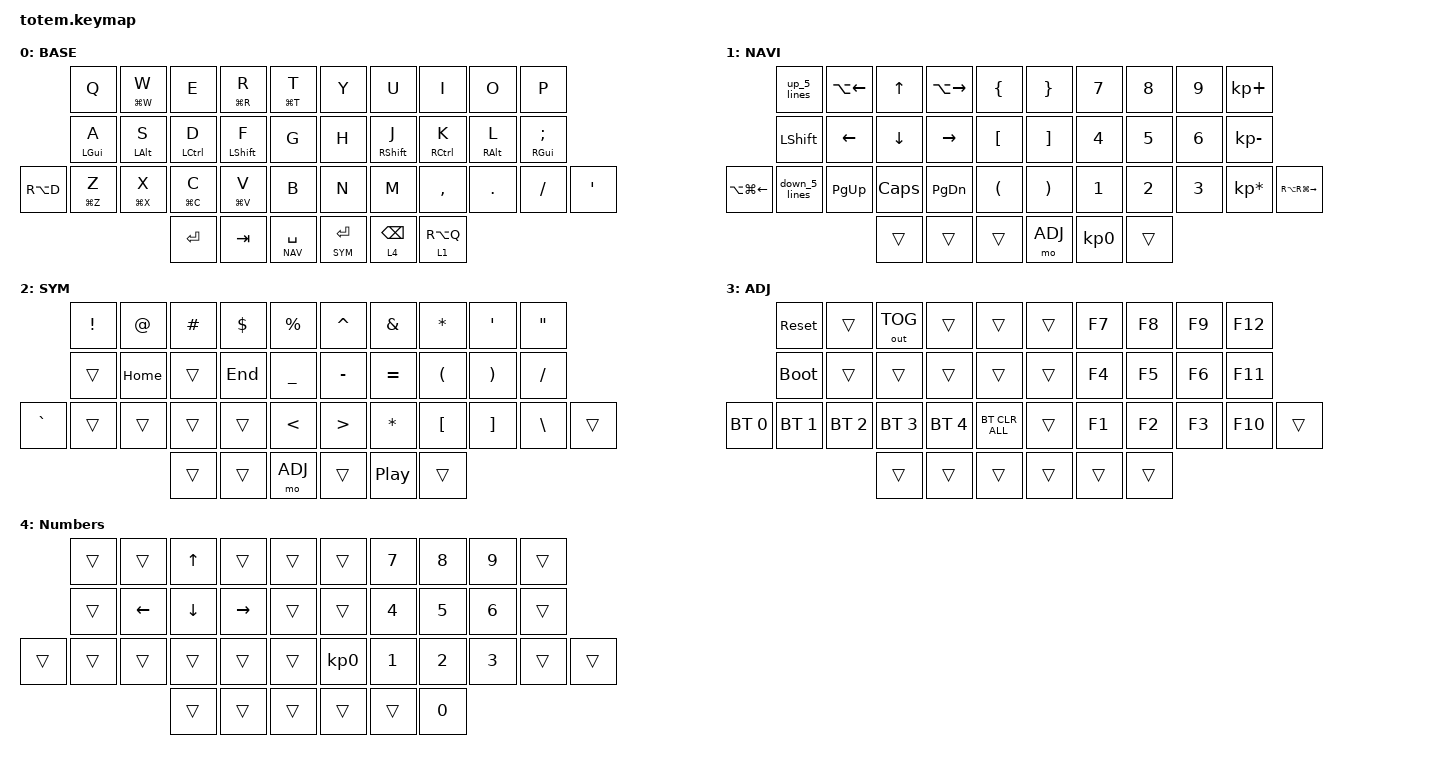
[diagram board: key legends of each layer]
//
//                                                        ▀▀▀▀▀     ▀▀▀▀▀          ▀▀█▀▀
//                                                        ▄▀▀▀▄  ▄  ▄▀▀▀▄  ▄  ▄▀▀▀▄  █  ▄▀▀▀▄
//                                                        █   █  █  █   █  █  █   █  █  █   █
//                                                         ▀▀▀   █   ▀▀▀   █   ▀▀▀   ▀   ▀▀▀
//                                                               █      ▄▄▄█▄▄▄    █   █  
//                                                               ▀      █  █  █     █▄█
//                                                             ▀▀▀▀▀    █  █  █      ▀
//                                                                      ▀  ▀  ▀
//
// ▄▄▄▄▄▄▄▄▄▄▄▄▄▄▄▄▄▄▄▄▄▄▄▄▄▄▄▄▄▄▄▄▄▄▄▄▄▄▄▄▄▄▄▄▄▄▄▄▄▄▄▄▄▄▄▄▄▄▄▄▄▄▄▄▄▄▄▄▄▄▄▄▄▄▄▄▄▄▄▄▄▄▄▄▄▄▄▄▄▄▄▄▄▄▄▄▄▄▄▄▄▄▄▄▄▄▄▄▄▄▄▄▄▄▄▄▄▄▄▄▄▄▄▄▄▄▄▄▄▄▄▄▄▄▄▄▄▄▄▄▄▄▄▄▄▄▄▄▄

#include <behaviors.dtsi>
#include <dt-bindings/zmk/bt.h>
#include <dt-bindings/zmk/keys.h>
#include <dt-bindings/zmk/outputs.h>

#define BASE 0
#define NAV  1
#define SYM  2
#define ADJ  3

&mt {
    quick-tap-ms = <100>;
    global-quick-tap;
    flavor = "tap-preferred";
    tapping-term-ms = <170>;
};

/ {
    combos {
        compatible = "zmk,combos";

        combo_esc {
            timeout-ms = <50>;
            key-positions = <0 1>;
            bindings = <&kp ESC>;
        };
    };

    macros {
        up_5_lines: up_5_lines {
            compatible = "zmk,behavior-macro";
            #binding-cells = <0>;
            bindings = <&kp UP_ARROW &kp UP_ARROW &kp UP_ARROW &kp UP_ARROW &kp UP_ARROW>;
            label = "UP_5_LINES";
            tap-ms = <5>;
        };

        down_5_lines: down_5_lines {
            compatible = "zmk,behavior-macro";
            #binding-cells = <0>;
            bindings = <&kp DOWN_ARROW &kp DOWN_ARROW &kp DOWN_ARROW &kp DOWN_ARROW &kp DOWN_ARROW>;
            label = "DOWN_5_LINES";
        };
    };

    keymap {
        compatible = "zmk,keymap";

        // ▄▄▄▄▄▄▄▄▄▄▄▄▄▄▄▄▄▄▄▄▄▄▄▄▄▄▄▄▄▄▄▄▄▄▄▄▄▄▄▄▄▄▄▄▄▄▄▄▄▄▄▄▄▄▄▄▄▄▄▄▄▄▄▄▄▄▄▄▄▄▄▄▄▄▄▄▄▄▄▄▄▄▄▄▄▄▄▄▄▄▄▄▄▄▄▄▄▄▄▄▄▄▄▄▄▄▄▄▄▄▄▄▄▄▄▄▄▄▄▄▄▄▄▄▄▄▄▄▄▄▄▄▄▄▄▄▄▄▄▄▄▄▄▄▄▄▄▄▄

        base_layer {
            // ┏━━━━━━━━━━━━━━━━━━━━━━━━━━━━━━━━━━━━━━━┓

            label = "BASE";

            // ┗━━━━━━━━━━━━━━━━━━━━━━━━━━━━━━━━━━━━━━━┛
            //             ┏━━━━━━━━━━━┳━━━━━━━━━━━┳━━━━━━━━━━━┳━━━━━━━━━━━┳━━━━━━━━━━━┓   ┏━━━━━━━━━━━┳━━━━━━━━━━━┳━━━━━━━━━━━┳━━━━━━━━━━━┳━━━━━━━━━━━┓
            //             ┃     Q     ┃     W     ┃     F     ┃     P     ┃     G     ┃   ┃     J     ┃     L     ┃     U     ┃     Y     ┃     ;     ┃
            //             ┣━━━━━━━━━━━╋━━━━━━━━━━━╋━━━━━━━━━━━╋━━━━━━━━━━━╋━━━━━━━━━━━┫   ┣━━━━━━━━━━━╋━━━━━━━━━━━╋━━━━━━━━━━━╋━━━━━━━━━━━╋━━━━━━━━━━━┫
            //             ┃     A     ┃     R     ┃     S     ┃     T     ┃     D     ┃   ┃     H     ┃     N     ┃     E     ┃     I     ┃     O     ┃
            // ┏━━━━━━━━━━━╋━━━━━━━━━━━╋━━━━━━━━━━━╋━━━━━━━━━━━╋━━━━━━━━━━━╋━━━━━━━━━━━┫   ┣━━━━━━━━━━━╋━━━━━━━━━━━╋━━━━━━━━━━━╋━━━━━━━━━━━╋━━━━━━━━━━━╋━━━━━━━━━━━┓
            // ┃           ┃     Z     ┃     X     ┃     C     ┃     V     ┃     B     ┃   ┃     K     ┃     M     ┃     ,     ┃     .     ┃     /     ┃           ┃
            // ┗━━━━━━━━━━━┻━━━━━━━━━━━┻━━━━━━━━━━━╋━━━━━━━━━━━╋━━━━━━━━━━━╋━━━━━━━━━━━┫   ┣━━━━━━━━━━━╋━━━━━━━━━━━╋━━━━━━━━━━━╋━━━━━━━━━━━┻━━━━━━━━━━━┻━━━━━━━━━━━┛
            //                                     ┃           ┃    TAB    ┃    SPC    ┃   ┃   ENTER   ┃   BSPC    ┃           ┃
            //                                     ┗━━━━━━━━━━━┻━━━━━━━━━━━┻━━━━━━━━━━━┛   ┗━━━━━━━━━━━┻━━━━━━━━━━━┻━━━━━━━━━━━┛

            bindings = <
           &kp Q        &mt LG(W) W  &kp E        &mt LG(R) R  &mt LG(T) T      &kp Y        &kp U            &kp I        &kp O       &kp P
           &mt LGUI A   &mt LALT S   &mt LCTRL D  &mt LSHFT F  &kp G            &kp H        &mt RSHFT J      &mt RCTRL K  &mt RALT L  &mt RGUI SEMI
&kp RA(D)  &mt LG(Z) Z  &mt LG(X) X  &mt LG(C) C  &mt LG(V) V  &kp B            &kp N        &kp M            &kp COMMA    &kp DOT     &kp SLASH      &kp APOS
                                     &kp ENTER    &kp TAB      &lt NAV SPACE    &lt SYM RET  &lt 4 BACKSPACE  &lt 1 RA(Q)
            >;
        };

        // ▄▄▄▄▄▄▄▄▄▄▄▄▄▄▄▄▄▄▄▄▄▄▄▄▄▄▄▄▄▄▄▄▄▄▄▄▄▄▄▄▄▄▄▄▄▄▄▄▄▄▄▄▄▄▄▄▄▄▄▄▄▄▄▄▄▄▄▄▄▄▄▄▄▄▄▄▄▄▄▄▄▄▄▄▄▄▄▄▄▄▄▄▄▄▄▄▄▄▄▄▄▄▄▄▄▄▄▄▄▄▄▄▄▄▄▄▄▄▄▄▄▄▄▄▄▄▄▄▄▄▄▄▄▄▄▄▄▄▄▄▄▄▄▄▄▄▄▄▄

        nav_layer {
            // ┏━━━━━━━━━━━━━━━━━━━━━━━━━━━━━━━━━━━━━━━┓

            label = "NAVI";

            // ┗━━━━━━━━━━━━━━━━━━━━━━━━━━━━━━━━━━━━━━━┛
            //             ┏━━━━━━━━━━━┳━━━━━━━━━━━┳━━━━━━━━━━━┳━━━━━━━━━━━┳━━━━━━━━━━━┓   ┏━━━━━━━━━━━┳━━━━━━━━━━━┳━━━━━━━━━━━┳━━━━━━━━━━━┳━━━━━━━━━━━┓
            //             ┃           ┃           ┃     UP    ┃           ┃     {     ┃   ┃     }     ┃     7     ┃     8     ┃     9     ┃     +     ┃
            //             ┣━━━━━━━━━━━╋━━━━━━━━━━━╋━━━━━━━━━━━╋━━━━━━━━━━━╋━━━━━━━━━━━┫   ┣━━━━━━━━━━━╋━━━━━━━━━━━╋━━━━━━━━━━━╋━━━━━━━━━━━╋━━━━━━━━━━━┫
            //             ┃   SHIFT   ┃   LEFT    ┃    DOWN   ┃   RIGHT   ┃     [     ┃   ┃     ]     ┃     4     ┃     5     ┃     6     ┃     -     ┃
            // ┏━━━━━━━━━━━╋━━━━━━━━━━━╋━━━━━━━━━━━╋━━━━━━━━━━━╋━━━━━━━━━━━╋━━━━━━━━━━━┫   ┣━━━━━━━━━━━╋━━━━━━━━━━━╋━━━━━━━━━━━╋━━━━━━━━━━━╋━━━━━━━━━━━╋━━━━━━━━━━━┓
            // ┃           ┃           ┃   P UP    ┃  C LOCK   ┃  P DOWN   ┃     (     ┃   ┃     )     ┃     1     ┃     2     ┃     3     ┃     *     ┃           ┃
            // ┗━━━━━━━━━━━┻━━━━━━━━━━━┻━━━━━━━━━━━╋━━━━━━━━━━━╋━━━━━━━━━━━╋━━━━━━━━━━━┫   ┣━━━━━━━━━━━╋━━━━━━━━━━━╋━━━━━━━━━━━╋━━━━━━━━━━━┻━━━━━━━━━━━┻━━━━━━━━━━━┛
            //                                     ┃           ┃    TAB    ┃    SPC    ┃   ┃    DEL    ┃     0     ┃           ┃
            //                                     ┗━━━━━━━━━━━┻━━━━━━━━━━━┻━━━━━━━━━━━┛   ┗━━━━━━━━━━━┻━━━━━━━━━━━┻━━━━━━━━━━━┛

            bindings = <
                  &up_5_lines    &kp LA(LEFT_ARROW)  &kp UP    &kp LA(RIGHT)  &kp LBRC    &kp RBRC  &kp N7        &kp N8        &kp N9        &kp KP_PLUS
                  &kp LSHFT      &kp LEFT            &kp DOWN  &kp RIGHT      &kp LBKT    &kp RBKT  &kp NUMBER_4  &kp N5        &kp NUMBER_6  &kp KP_MINUS
&kp LA(LG(LEFT))  &down_5_lines  &kp PG_UP           &kp CAPS  &kp PG_DN      &kp LPAR    &kp RPAR  &kp NUMBER_1  &kp NUMBER_2  &kp NUMBER_3  &kp KP_MULTIPLY  &kp RA(RG(RIGHT))
                                                     &trans    &trans         &trans      &mo ADJ   &kp KP_N0     &trans
            >;
        };

        // ▄▄▄▄▄▄▄▄▄▄▄▄▄▄▄▄▄▄▄▄▄▄▄▄▄▄▄▄▄▄▄▄▄▄▄▄▄▄▄▄▄▄▄▄▄▄▄▄▄▄▄▄▄▄▄▄▄▄▄▄▄▄▄▄▄▄▄▄▄▄▄▄▄▄▄▄▄▄▄▄▄▄▄▄▄▄▄▄▄▄▄▄▄▄▄▄▄▄▄▄▄▄▄▄▄▄▄▄▄▄▄▄▄▄▄▄▄▄▄▄▄▄▄▄▄▄▄▄▄▄▄▄▄▄▄▄▄▄▄▄▄▄▄▄▄▄▄▄▄

        sim_layer {
            // ┏━━━━━━━━━━━━━━━━━━━━━━━━━━━━━━━━━━━━━━━┓

            label = "SYM";

            // ┗━━━━━━━━━━━━━━━━━━━━━━━━━━━━━━━━━━━━━━━┛
            //             ┏━━━━━━━━━━━┳━━━━━━━━━━━┳━━━━━━━━━━━┳━━━━━━━━━━━┳━━━━━━━━━━━┓   ┏━━━━━━━━━━━┳━━━━━━━━━━━┳━━━━━━━━━━━┳━━━━━━━━━━━┳━━━━━━━━━━━┓
            //             ┃     !     ┃     @     ┃     #     ┃     $     ┃     %     ┃   ┃     ˆ     ┃     &     ┃     Ü     ┃     '     ┃     "     ┃
            //             ┣━━━━━━━━━━━╋━━━━━━━━━━━╋━━━━━━━━━━━╋━━━━━━━━━━━╋━━━━━━━━━━━┫   ┣━━━━━━━━━━━╋━━━━━━━━━━━╋━━━━━━━━━━━╋━━━━━━━━━━━╋━━━━━━━━━━━┫
            //             ┃     Ä     ┃           ┃    SZ     ┃           ┃           ┃   ┃   MUTE    ┃   YEN     ┃   EURO    ┃  POUND    ┃     Ö     ┃
            // ┏━━━━━━━━━━━╋━━━━━━━━━━━╋━━━━━━━━━━━╋━━━━━━━━━━━╋━━━━━━━━━━━╋━━━━━━━━━━━┫   ┣━━━━━━━━━━━╋━━━━━━━━━━━╋━━━━━━━━━━━╋━━━━━━━━━━━╋━━━━━━━━━━━╋━━━━━━━━━━━┓
            // ┃           ┃  EMAIL1   ┃  EMAIL2   ┃           ┃           ┃           ┃   ┃   VOL-    ┃   VOL+    ┃   LAST    ┃   NEXT    ┃     \     ┃           ┃
            // ┗━━━━━━━━━━━┻━━━━━━━━━━━┻━━━━━━━━━━━╋━━━━━━━━━━━╋━━━━━━━━━━━╋━━━━━━━━━━━┫   ┣━━━━━━━━━━━╋━━━━━━━━━━━╋━━━━━━━━━━━╋━━━━━━━━━━━┻━━━━━━━━━━━┻━━━━━━━━━━━┛
            //                                     ┃           ┃    GIF    ┃    ADJ    ┃   ┃           ┃           ┃           ┃
            //                                     ┗━━━━━━━━━━━┻━━━━━━━━━━━┻━━━━━━━━━━━┛   ┗━━━━━━━━━━━┻━━━━━━━━━━━┻━━━━━━━━━━━┛

            bindings = <
           &kp EXCL  &kp AT    &kp HASH  &kp DLLR  &kp PRCNT         &kp CARET         &kp AMPS      &kp ASTERISK          &kp SQT                &kp DQT
           &trans    &kp HOME  &trans    &kp END   &kp UNDERSCORE    &kp MINUS         &kp EQUAL     &kp LEFT_PARENTHESIS  &kp RIGHT_PARENTHESIS  &kp SLASH
&kp GRAVE  &trans    &trans    &trans    &trans    &kp LESS_THAN     &kp GREATER_THAN  &kp ASTERISK  &kp LEFT_BRACKET      &kp RIGHT_BRACKET      &kp BSLH   &trans
                               &trans    &trans    &mo ADJ           &trans            &kp C_PP      &trans
            >;
        };

        // ▄▄▄▄▄▄▄▄▄▄▄▄▄▄▄▄▄▄▄▄▄▄▄▄▄▄▄▄▄▄▄▄▄▄▄▄▄▄▄▄▄▄▄▄▄▄▄▄▄▄▄▄▄▄▄▄▄▄▄▄▄▄▄▄▄▄▄▄▄▄▄▄▄▄▄▄▄▄▄▄▄▄▄▄▄▄▄▄▄▄▄▄▄▄▄▄▄▄▄▄▄▄▄▄▄▄▄▄▄▄▄▄▄▄▄▄▄▄▄▄▄▄▄▄▄▄▄▄▄▄▄▄▄▄▄▄▄▄▄▄▄▄▄▄▄▄▄▄▄

        adjust_layer {
            // ┏━━━━━━━━━━━━━━━━━━━━━━━━━━━━━━━━━━━━━━━┓

            label = "ADJ";

            // ┗━━━━━━━━━━━━━━━━━━━━━━━━━━━━━━━━━━━━━━━┛
            //             ┏━━━━━━━━━━━┳━━━━━━━━━━━┳━━━━━━━━━━━┳━━━━━━━━━━━┳━━━━━━━━━━━┓   ┏━━━━━━━━━━━┳━━━━━━━━━━━┳━━━━━━━━━━━┳━━━━━━━━━━━┳━━━━━━━━━━━┓
            //             ┃   RESET   ┃ BT CLEAR  ┃  OUT TOG  ┃           ┃           ┃   ┃           ┃    F7     ┃    F8     ┃    F9     ┃    F12    ┃
            //             ┣━━━━━━━━━━━╋━━━━━━━━━━━╋━━━━━━━━━━━╋━━━━━━━━━━━╋━━━━━━━━━━━┫   ┣━━━━━━━━━━━╋━━━━━━━━━━━╋━━━━━━━━━━━╋━━━━━━━━━━━╋━━━━━━━━━━━┫
            //             ┃ BOOTLOAD  ┃ BT NEXT   ┃           ┃           ┃           ┃   ┃           ┃    F4     ┃    F5     ┃    F6     ┃    F11    ┃
            // ┏━━━━━━━━━━━╋━━━━━━━━━━━╋━━━━━━━━━━━╋━━━━━━━━━━━╋━━━━━━━━━━━╋━━━━━━━━━━━┫   ┣━━━━━━━━━━━╋━━━━━━━━━━━╋━━━━━━━━━━━╋━━━━━━━━━━━╋━━━━━━━━━━━╋━━━━━━━━━━━┓
            // ┃           ┃           ┃ BT PREV   ┃           ┃           ┃           ┃   ┃           ┃    F1     ┃    F2     ┃    F3     ┃    F10    ┃           ┃
            // ┗━━━━━━━━━━━┻━━━━━━━━━━━┻━━━━━━━━━━━╋━━━━━━━━━━━╋━━━━━━━━━━━╋━━━━━━━━━━━┫   ┣━━━━━━━━━━━╋━━━━━━━━━━━╋━━━━━━━━━━━╋━━━━━━━━━━━┻━━━━━━━━━━━┻━━━━━━━━━━━┛
            //                                     ┃           ┃           ┃           ┃   ┃           ┃           ┃           ┃
            //                                     ┗━━━━━━━━━━━┻━━━━━━━━━━━┻━━━━━━━━━━━┛   ┗━━━━━━━━━━━┻━━━━━━━━━━━┻━━━━━━━━━━━┛

            bindings = <
              &sys_reset    &trans        &out OUT_TOG  &trans        &trans            &trans  &kp F7  &kp F8  &kp F9  &kp F12
              &bootloader   &trans        &trans        &trans        &trans            &trans  &kp F4  &kp F5  &kp F6  &kp F11
&bt BT_SEL 0  &bt BT_SEL 1  &bt BT_SEL 2  &bt BT_SEL 3  &bt BT_SEL 4  &bt BT_CLR_ALL    &trans  &kp F1  &kp F2  &kp F3  &kp F10  &trans
                                          &trans        &trans        &trans            &trans  &trans  &trans
            >;
        };

        Numbers {
            bindings = <
        &trans  &trans          &kp UP_ARROW    &trans     &trans    &trans           &kp N7  &kp N8  &kp N9  &trans
        &trans  &kp LEFT_ARROW  &kp DOWN_ARROW  &kp RIGHT  &trans    &trans           &kp N4  &kp N5  &kp N6  &trans
&trans  &trans  &trans          &trans          &trans     &trans    &kp KP_NUMBER_0  &kp N1  &kp N2  &kp N3  &trans  &trans
                                &trans          &trans     &trans    &trans           &trans  &kp N0
            >;
        };
    };
};
